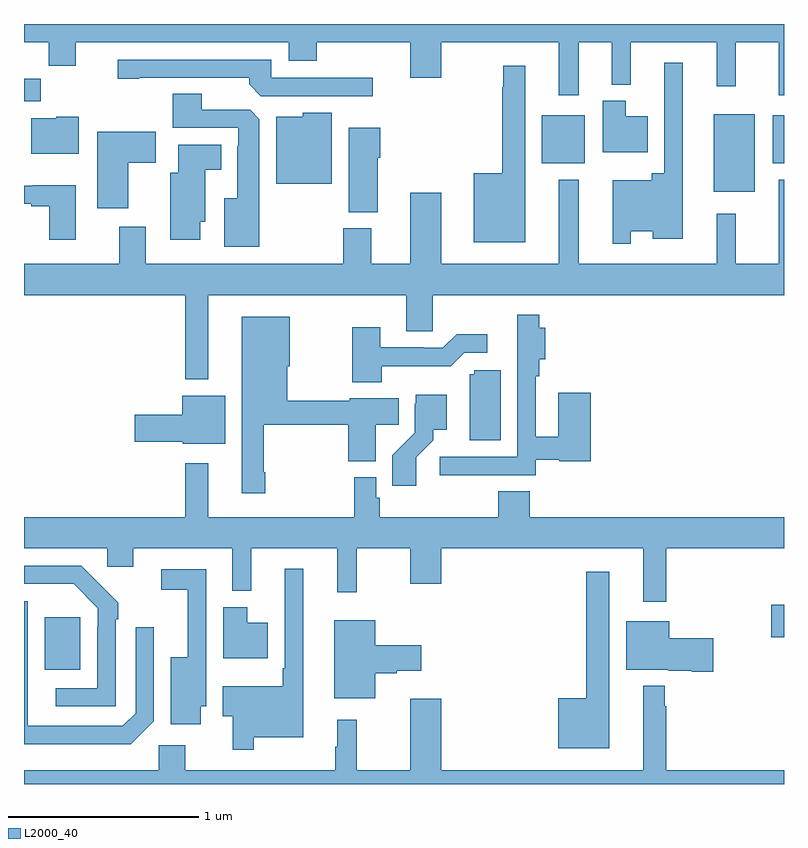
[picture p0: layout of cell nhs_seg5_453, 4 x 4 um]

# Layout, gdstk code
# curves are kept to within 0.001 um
import gdstk
lib = gdstk.Library(unit=1e-6, precision=1e-09)
def R(c, l, rs):  # rectangles x0, y0, x1, y1
    for r in rs: c.add(gdstk.rectangle(r[:2], r[2:], *l))
def P(c, l, *ps):  # polygons
    for p in ps: c.add(gdstk.Polygon(p, *l))
L2000_40 = (2000, 40)

nhs_seg5_453 = lib.new_cell('nhs_seg5_453')
R(nhs_seg5_453, L2000_40, [(139.109,909.401,139.297,909.676), (142.932,909.572,143,909.742), (142.631,911.915,142.846,912.325), (141.725,912.065,141.952,912.319), (142.94,912.065,143,912.319), (139,912.392,139.088,912.51)])
P(nhs_seg5_453, L2000_40, [(139,912.704),(139.129,912.704),(139.129,912.58),(139.273,912.58),(139.273,912.704),(140.393,912.704),(140.393,912.605),(140.541,912.605),(140.541,912.704),(141.032,912.704),(141.032,912.516),(141.196,912.516),(141.196,912.704),(141.815,912.704),(141.815,912.423),(141.919,912.423),(141.919,912.704),(142.094,912.704),(142.094,912.479),(142.193,912.479),(142.193,912.704),(142.646,912.704),(142.646,912.471),(142.746,912.471),(142.746,912.704),(142.973,912.704),(142.973,912.423),(143,912.423),(143,912.799),(139,912.799)],
  [(140.836,912.516),(140.301,912.516),(140.301,912.612),(139.494,912.612),(139.494,912.511),(139.606,912.511),(139.606,912.516),(140.186,912.516),(140.186,912.482),(140.247,912.42),(140.836,912.42)],
  [(142.194,911.708),(142.31,911.708),(142.31,911.669),(142.468,911.669),(142.468,912.595),(142.371,912.595),(142.371,912.013),(142.303,912.013),(142.303,911.977),(142.098,911.977),(142.098,911.643),(142.194,911.643)],
  [(141.637,912.58),(141.523,912.58),(141.523,912.467),(141.516,912.467),(141.516,912.013),(141.368,912.013),(141.368,911.651),(141.637,911.651)],
  [(140.239,912.299),(140.19,912.348),(139.936,912.348),(139.936,912.431),(139.784,912.431),(139.784,912.252),(140.127,912.252),(140.127,912.155),(140.123,912.155),(140.123,911.881),(140.054,911.881),(140.054,911.627),(140.239,911.627)],
  [(142.282,912.313),(142.168,912.313),(142.168,912.394),(142.046,912.394),(142.046,912.125),(142.282,912.125)],
  [(140.62,912.331),(140.466,912.331),(140.466,912.31),(140.327,912.31),(140.327,911.957),(140.62,911.957)],
  [(139.288,912.31),(139.17,912.31),(139.17,912.304),(139.037,912.304),(139.037,912.116),(139.288,912.116)],
  [(140.863,912.095),(140.876,912.095),(140.876,912.253),(140.708,912.253),(140.708,911.809),(140.863,911.809)],
  [(139.549,912.07),(139.693,912.07),(139.693,912.232),(139.385,912.232),(139.385,911.829),(139.549,911.829)],
  [(139.927,911.757),(139.954,911.757),(139.954,912.032),(140.038,912.032),(140.038,912.163),(139.811,912.163),(139.811,912.016),(139.769,912.016),(139.769,911.664),(139.927,911.664)],
  [(141.15,911.372),(143,911.372),(143,911.98),(142.973,911.98),(142.973,911.536),(142.746,911.536),(142.746,911.8),(142.646,911.8),(142.646,911.536),(141.919,911.536),(141.919,911.98),(141.815,911.98),(141.815,911.536),(141.196,911.536),(141.196,911.911),(141.032,911.911),(141.032,911.536),(140.827,911.536),(140.827,911.724),(140.68,911.724),(140.68,911.536),(139.642,911.536),(139.642,911.731),(139.502,911.731),(139.502,911.536),(139,911.536),(139,911.372),(139.848,911.372),(139.848,910.928),(139.969,910.928),(139.969,911.372),(141.011,911.372),(141.011,911.182),(141.15,911.182)],
  [(139.273,911.95),(139.045,911.95),(139.045,911.949),(139,911.949),(139,911.853),(139.037,911.853),(139.037,911.841),(139.133,911.841),(139.133,911.664),(139.273,911.664)],
  [(141.413,910.425),(141.693,910.425),(141.693,910.506),(141.816,910.506),(141.816,910.498),(141.983,910.498),(141.983,910.858),(141.812,910.858),(141.812,910.627),(141.693,910.627),(141.693,910.946),(141.713,910.946),(141.713,911.035),(141.743,911.035),(141.743,911.2),(141.713,911.2),(141.713,911.269),(141.596,911.269),(141.596,911.046),(141.597,911.046),(141.597,910.521),(141.189,910.521),(141.189,910.423),(141.413,910.423)],
  [(140.269,910.441),(140.261,910.441),(140.261,910.689),(140.707,910.689),(140.707,910.499),(140.851,910.499),(140.851,910.69),(140.972,910.69),(140.972,910.828),(140.714,910.828),(140.714,910.817),(140.386,910.817),(140.386,910.998),(140.398,910.998),(140.398,911.257),(140.147,911.257),(140.147,910.329),(140.269,910.329)],
  [(140.883,910.998),(141.245,910.998),(141.318,911.07),(141.439,911.07),(141.439,911.167),(141.277,911.167),(141.204,911.094),(141.104,911.094),(141.104,911.097),(140.875,911.097),(140.875,911.203),(140.728,911.203),(140.728,910.913),(140.883,910.913)],
  [(141.508,910.977),(141.369,910.977),(141.369,910.956),(141.347,910.956),(141.347,910.608),(141.508,910.608)],
  [(141.064,910.519),(141.154,910.609),(141.154,910.664),(141.226,910.664),(141.226,910.849),(141.062,910.849),(141.062,910.8),(141.057,910.8),(141.057,910.649),(140.938,910.53),(140.938,910.368),(141.064,910.368)],
  [(140.059,910.843),(139.832,910.843),(139.832,910.742),(139.584,910.742),(139.584,910.6),(139.836,910.6),(139.836,910.589),(140.059,910.589)],
  [(140.096,909.815),(140.195,909.815),(140.195,910.04),(140.648,910.04),(140.648,909.807),(140.75,909.807),(140.75,910.04),(141.032,910.04),(141.032,909.852),(141.196,909.852),(141.196,910.04),(142.259,910.04),(142.259,909.759),(142.381,909.759),(142.381,910.04),(143,910.04),(143,910.204),(141.662,910.204),(141.662,910.34),(141.497,910.34),(141.497,910.204),(140.873,910.204),(140.873,910.305),(140.853,910.305),(140.853,910.414),(140.737,910.414),(140.737,910.204),(139.969,910.204),(139.969,910.486),(139.848,910.486),(139.848,910.204),(139,910.204),(139,910.04),(139.437,910.04),(139.437,909.942),(139.576,909.942),(139.576,910.04),(140.096,910.04)],
  [(139.482,909.665),(139.497,909.665),(139.497,909.753),(139.3,909.948),(139,909.948),(139,909.852),(139.261,909.852),(139.389,909.723),(139.389,909.623),(139.386,909.623),(139.386,909.303),(139.167,909.303),(139.167,909.207),(139.482,909.207)],
  [(140.209,909.044),(140.47,909.044),(140.47,909.931),(140.373,909.931),(140.373,909.409),(140.361,909.409),(140.361,909.313),(140.046,909.313),(140.046,909.155),(140.099,909.155),(140.099,908.979),(140.209,908.979)],
  [(139.93,909.209),(139.959,909.209),(139.959,909.93),(139.722,909.93),(139.722,909.822),(139.862,909.822),(139.862,909.466),(139.772,909.466),(139.772,909.114),(139.93,909.114)],
  [(142.081,909.916),(141.96,909.916),(141.96,909.25),(141.812,909.25),(141.812,908.987),(142.081,908.987)],
  [(139.683,909.129),(139.683,909.625),(139.587,909.625),(139.587,909.171),(139.521,909.105),(139.021,909.105),(139.021,909.305),(139.02,909.305),(139.02,909.762),(139,909.762),(139,909.008),(139.562,909.008)],
  [(140.284,909.649),(140.176,909.649),(140.176,909.73),(140.048,909.73),(140.048,909.461),(140.284,909.461)],
  [(140.848,909.383),(140.961,909.383),(140.961,909.395),(141.091,909.395),(141.091,909.53),(140.848,909.53),(140.848,909.661),(140.633,909.661),(140.633,909.251),(140.848,909.251)],
  [(142.627,909.567),(142.396,909.567),(142.396,909.655),(142.169,909.655),(142.169,909.401),(142.392,909.401),(142.392,909.395),(142.514,909.395),(142.514,909.389),(142.627,909.389)],
  [(143,908.872),(142.381,908.872),(142.381,909.209),(142.373,909.209),(142.373,909.316),(142.259,909.316),(142.259,908.872),(141.196,908.872),(141.196,909.247),(141.032,909.247),(141.032,908.872),(140.75,908.872),(140.75,909.136),(140.648,909.136),(140.648,908.996),(140.637,908.996),(140.637,908.872),(139.849,908.872),(139.849,909.004),(139.71,909.004),(139.71,908.872),(139,908.872),(139,908.799),(143,908.799)])

lib.write_gds('nhs_seg5_453.gds')
